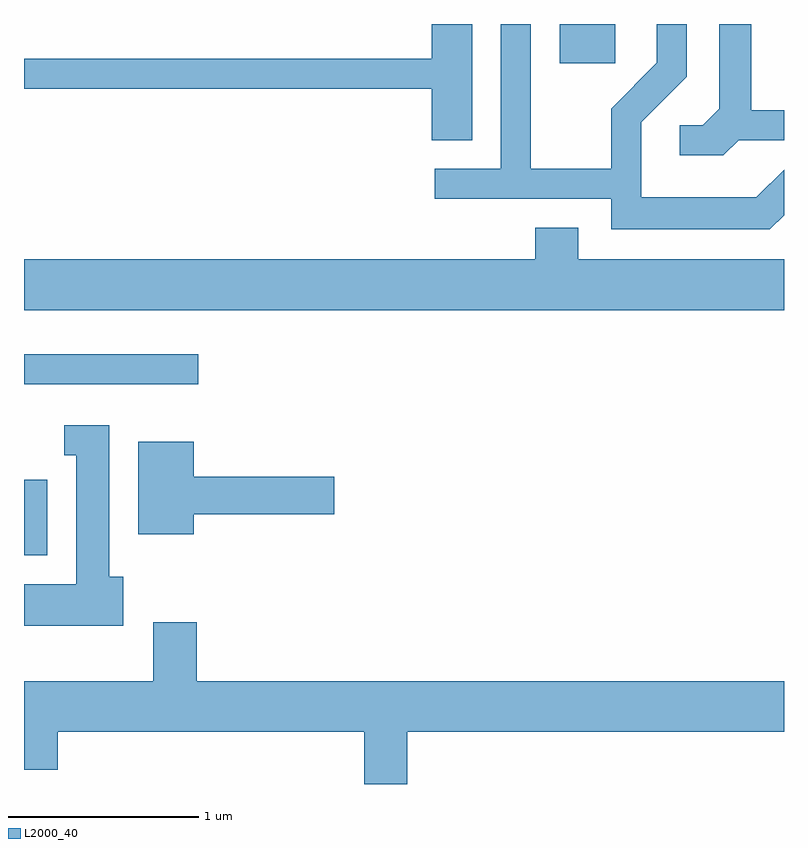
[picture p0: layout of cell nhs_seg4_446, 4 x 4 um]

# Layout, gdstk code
import gdstk
lib = gdstk.Library(unit=1e-6, precision=1e-09)
def R(c, l, rs):  # rectangles x0, y0, x1, y1
    for r in rs: c.add(gdstk.rectangle(r[:2], r[2:], *l))
def P(c, l, *ps):  # polygons
    for p in ps: c.add(gdstk.Polygon(p, *l))
L2000_40 = (2000, 40)

nhs_seg4_446 = lib.new_cell('nhs_seg4_446')
R(nhs_seg4_446, L2000_40, [(197.611,1331.186,197.734,1331.584), (197.611,1332.086,198.528,1332.244), (200.431,1333.776,200.724,1333.982)])
P(nhs_seg4_446, L2000_40, [(199.969,1333.982),(199.756,1333.982),(199.756,1333.799),(197.611,1333.799),(197.611,1333.641),(199.756,1333.641),(199.756,1333.371),(199.969,1333.371)],
  [(201.611,1332.975),(201.611,1333.216),(201.464,1333.069),(200.859,1333.069),(200.859,1333.464),(201.099,1333.704),(201.099,1333.982),(200.941,1333.982),(200.941,1333.777),(200.701,1333.537),(200.701,1333.219),(200.279,1333.219),(200.279,1333.982),(200.121,1333.982),(200.121,1333.219),(199.773,1333.219),(199.773,1333.061),(200.701,1333.061),(200.701,1332.901),(201.537,1332.901)],
  [(201.372,1333.371),(201.611,1333.371),(201.611,1333.529),(201.439,1333.529),(201.439,1333.982),(201.271,1333.982),(201.271,1333.537),(201.184,1333.449),(201.063,1333.449),(201.063,1333.291),(201.292,1333.291)],
  [(201.611,1332.744),(200.529,1332.744),(200.529,1332.909),(200.301,1332.909),(200.301,1332.744),(197.611,1332.744),(197.611,1332.476),(201.611,1332.476)],
  [(198.134,1331.074),(198.059,1331.074),(198.059,1331.869),(197.823,1331.869),(197.823,1331.711),(197.886,1331.711),(197.886,1331.034),(197.611,1331.034),(197.611,1330.816),(198.134,1330.816)],
  [(198.504,1331.401),(199.244,1331.401),(199.244,1331.599),(198.504,1331.599),(198.504,1331.784),(198.211,1331.784),(198.211,1331.296),(198.504,1331.296)],
  [(199.629,1330.256),(201.611,1330.256),(201.611,1330.524),(198.519,1330.524),(198.519,1330.834),(198.291,1330.834),(198.291,1330.524),(197.611,1330.524),(197.611,1330.056),(197.789,1330.056),(197.789,1330.256),(199.401,1330.256),(199.401,1329.982),(199.629,1329.982)])

lib.write_gds('nhs_seg4_446.gds')
